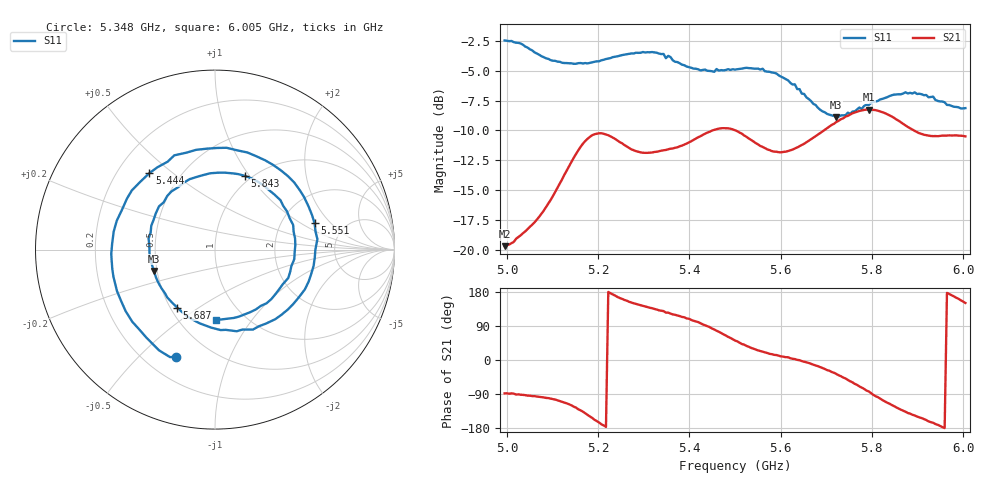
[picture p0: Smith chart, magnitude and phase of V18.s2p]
!File created by NanoVNA
# Hz S RI R 50
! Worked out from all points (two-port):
!   201 points, 4.995 GHz to 6.005 GHz, reference 50 ohm
!   highest |S21| = -8.25 dB at 5.793 GHz (marker M1); lowest = -19.7 dB at 4.995 GHz (marker M2)
!   |S21| within 3 dB of the highest: 5.385 GHz to 5.553 GHz (167.8 MHz wide, 3.07 % of centre); 5.645 GHz to end of sweep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
!   lowest |S11| = -8.9 dB at 5.722 GHz (marker M3), VSWR 2.12, Z = 24.1 - j6.62 ohm
!   |S11| at or under -10 dB: nowhere
!   S12 and S22 are empty: the file has one direction only
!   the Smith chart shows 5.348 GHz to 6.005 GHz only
!   S11 on the Smith chart (normalised r, x): 5.348 GHz: 0.32, -0.65; 5.444 GHz: 0.33, +0.42; 5.551 GHz: 3.05, +1.34; 5.687 GHz: 0.54, -0.41; 5.843 GHz: 0.93, +0.95; 6.005 GHz: 0.74, -0.68
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4.995e9  0.209 -0.7238  0.00359 -0.1033  0 0  0 0
5.03035e9  -0.3121 -0.6612  -0.00352 -0.1148  0 0  0 0
5.0758e9  -0.6423 -0.0792  -0.0199 -0.1399  0 0  0 0
5.1263e9  -0.3487 0.4954  -0.0771 -0.1914  0 0  0 0
5.1667e9  0.117 0.5918  -0.2014 -0.1918  0 0  0 0
5.25255e9  0.6512 -0.062  -0.2642 0.0897  0 0  0 0
5.298e9  0.437 -0.5129  -0.2024 0.1547  0 0  0 0
5.33335e9  0.00846 -0.6639  -0.1696 0.1949  0 0  0 0
5.3485e9  -0.2173 -0.5965  -0.1502 0.2142  0 0  0 0
5.39395e9  -0.5659 -0.1509  -0.0935 0.2622  0 0  0 0
5.44445e9  -0.3654 0.4261  0.0172 0.3115  0 0  0 0
5.5e9  0.2257 0.522  0.1975 0.2472  0 0  0 0
5.5505e9  0.5546 0.1475  0.2491 0.1191  0 0  0 0
5.6212e9  0.2841 -0.4122  0.2598 0.0211  0 0  0 0
5.6717e9  -0.1296 -0.3874  0.2877 -0.0631  0 0  0 0
5.68685e9  -0.2105 -0.3232  0.2921 -0.0985  0 0  0 0
5.7222e9  -0.3395 -0.1197  0.2744 -0.2058  0 0  0 0
5.7929e9  -0.2046 0.3479  0.048 -0.3837  0 0  0 0
5.83835e9  0.1283 0.4209  -0.1553 -0.3312  0 0  0 0
5.8434e9  0.1682 0.4106  -0.173 -0.3176  0 0  0 0
5.91915e9  0.4416 -0.0533  -0.2807 -0.1108  0 0  0 0
6.005e9  0.00329 -0.3919  -0.2595 0.147  0 0  0 0
